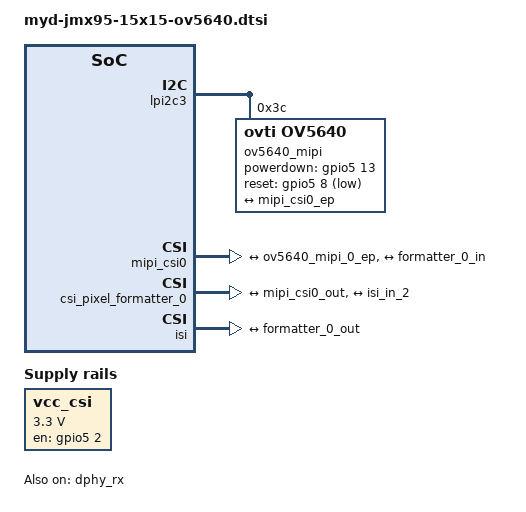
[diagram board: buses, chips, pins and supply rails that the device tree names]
// SPDX-License-Identifier: GPL-2.0+
/*
 * Copyright 2026 MYIR
 */

#include <dt-bindings/gpio/gpio.h>

/ {
	vcc_csi: regulator-csi {
		compatible = "regulator-fixed";
		pinctrl-names = "default";
		pinctrl-0 = <&pinctrl_csi_pwr>;
		regulator-name = "VDD_CSI";
		regulator-min-microvolt = <3300000>;
		regulator-max-microvolt = <3300000>;
		gpio = <&gpio5 2 GPIO_ACTIVE_HIGH>;
		enable-active-high;
		regulator-always-on;
	};

	clk_camera_fixed: clock {
		compatible = "fixed-clock";
		#clock-cells = <0>;
		clock-frequency = <24000000>;
		clock-output-names = "CLK_CAMERA_24MHZ";
	};
};

&lpi2c3 {
	#address-cells = <1>;
	#size-cells = <0>;
	status = "okay";

	ov5640_mipi: ov5640_mipi@3c {
		compatible = "ovti,ov5640";
		reg = <0x3c>;
		pinctrl-names = "default";
		pinctrl-0 = <&pinctrl_csi_gpio>;
		clocks = <&clk_camera_fixed>;
		clock-names = "xclk";
		assigned-clocks = <&clk_camera_fixed>;
		assigned-clock-parents = <&osc_24m>;
		assigned-clock-rates = <24000000>;
		powerdown-gpios = <&gpio5 13 GPIO_ACTIVE_HIGH>;
		reset-gpios = <&gpio5 8 GPIO_ACTIVE_LOW>;
		status = "okay";

		port {
			ov5640_mipi_0_ep: endpoint {
				remote-endpoint = <&mipi_csi0_ep>;
				data-lanes = <1 2>;
				clock-lanes = <0>;
			};
		};
	};
};

&dphy_rx {
	status = "okay";
};

&mipi_csi0 {
	status = "okay";

	ports {
		#address-cells = <1>;
		#size-cells = <0>;

		port@0 {
			reg = <0>;
			mipi_csi0_ep: endpoint {
				remote-endpoint = <&ov5640_mipi_0_ep>;
				data-lanes = <1 2>;
				clock-lanes = <0>;
			};
		};

		port@1 {
			reg = <1>;
				mipi_csi0_out: endpoint {
				remote-endpoint = <&formatter_0_in>;
			};
		};
	};
};

&csi_pixel_formatter_0 {
	status = "okay";

	ports {
		#address-cells = <1>;
		#size-cells = <0>;

		port@0 {
			reg = <0>;

			formatter_0_in: endpoint {
				remote-endpoint = <&mipi_csi0_out>;
			};
		};

		port@1 {
			reg = <1>;

			formatter_0_out: endpoint {
				remote-endpoint = <&isi_in_2>;
			};
		};
	};
};

&isi {
	status = "okay";

	ports {
		#address-cells = <1>;
		#size-cells = <0>;

		port@2 {
			reg = <2>;

			isi_in_2: endpoint {
				remote-endpoint = <&formatter_0_out>;
			};
		};
	};
};

&scmi_iomuxc {
	pinctrl_csi_pwr: csipwrgrp {
		fsl,pins = <
			IMX95_PAD_XSPI1_DATA2__GPIO5_IO_BIT2		0x31e
		>;
	};

	pinctrl_csi_gpio: csigpiogrp {
		fsl,pins = <
			IMX95_PAD_GPIO_IO33__GPIO5_IO_BIT13		0x31e
			IMX95_PAD_XSPI1_DQS__GPIO5_IO_BIT8		0x31e
		>;
	};
};
